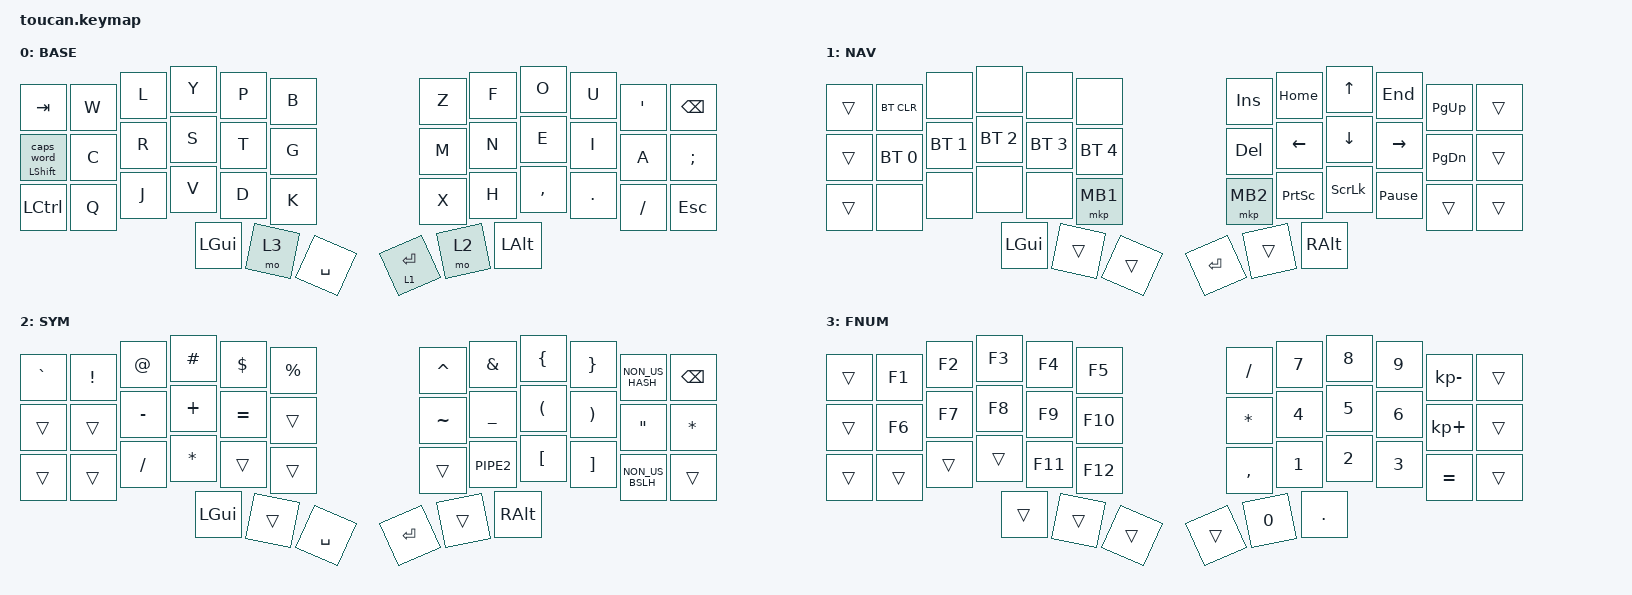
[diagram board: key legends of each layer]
#include <behaviors.dtsi>
#include <dt-bindings/zmk/keys.h>
#include <dt-bindings/zmk/bt.h>
#include <dt-bindings/zmk/outputs.h>
#include <dt-bindings/zmk/pointing.h>

#define BASE 0
#define NAV  1
#define SYM  2
#define FNUM 3

/ {
    macros {
        cp_macro: cp_macro {
            compatible = "zmk,behavior-macro";
            #binding-cells = <0>;
            bindings =
                <&macro_press>,
                <&kp LCTRL>,
                <&macro_tap>,
                <&kp INS>,
                <&macro_release>,
                <&kp LCTRL>;
        };

        paste_macro: paste_macro {
            compatible = "zmk,behavior-macro";
            #binding-cells = <0>;
            bindings =
                <&macro_press>,
                <&kp LSHIFT>,
                <&macro_tap>,
                <&kp INSERT>,
                <&macro_release>,
                <&kp LSHIFT>;
        };

        cut_macro: cut_macro {
            compatible = "zmk,behavior-macro";
            #binding-cells = <0>;
            bindings =
                <&macro_press>,
                <&kp LCTRL>,
                <&macro_tap>,
                <&kp X>,
                <&macro_release>,
                <&kp LCTRL>;
        };

        vi_wq: vi_wq {
            compatible = "zmk,behavior-macro";
            #binding-cells = <0>;
            bindings = <&kp COLON &kp W &kp Q>;
            label = "VI_WQ";
        };
    };

    combos {
        compatible = "zmk,combos";

        activate_kbd_config {
            bindings = <&mo 4>;
            key-positions = <37 40>;
        };

        Copy {
            bindings = <&cp_macro>;
            timeout-ms = <100>;
            key-positions = <26 27>;
        };

        Paste {
            bindings = <&paste_macro>;
            timeout-ms = <100>;
            key-positions = <27 28>;
        };

        Cut {
            bindings = <&cut_macro>;
            timeout-ms = <100>;
            key-positions = <26 28>;
        };

        LeftMouseClick {
            bindings = <&mkp MB1>;
            timeout-ms = <100>;
            key-positions = <28 29>;
        };

        RightMouseClick {
            bindings = <&mkp MB2>;
            timeout-ms = <100>;
            key-positions = <30 31>;
        };

        TopLeftMouseClick {
            bindings = <&mkp MB1>;
            timeout-ms = <100>;
            require-prior-idle-ms = <500>;
            key-positions = <2 3>;
        };

        TopRightMouseClick {
            bindings = <&mkp MB2>;
            timeout-ms = <100>;
            require-prior-idle-ms = <500>;
            key-positions = <3 4>;
        };

        TopScrollEnable {
            bindings = <&mo 1>;
            timeout-ms = <100>;
            require-prior-idle-ms = <500>;
            key-positions = <2 4>;
        };

        non_us_double_quote {
            bindings = <&kp AT>;
            timeout-ms = <500>;
            layers = <0>;
            key-positions = <24 10>;
        };

        keepass {
            bindings = <&kp LA(LC(A))>;
            key-positions = <1 4>;
        };

        combo_vi_wq {
            bindings = <&vi_wq>;
            key-positions = <1 2>;
        };
    };

    ls_cw: hold_leftshift_tap_capsword {
        compatible = "zmk,behavior-hold-tap";
        #binding-cells = <2>;
        flavor = "hold-preferred";
        tapping-term-ms = <200>;
        bindings = <&kp>, <&caps_word>;
    };

    behaviors {
    };

    keymap {
        compatible = "zmk,keymap";

        base {
            display-name = "BASE";
            bindings = <
&kp TAB              &kp W  &kp L  &kp Y         &kp P  &kp B        &kp Z        &kp F  &kp O         &kp U    &kp SINGLE_QUOTE  &kp BSPC
&ls_cw LEFT_SHIFT 0  &kp C  &kp R  &kp S         &kp T  &kp G        &kp M        &kp N  &kp E         &kp I    &kp A             &kp SEMICOLON
&kp LEFT_CONTROL     &kp Q  &kp J  &kp V         &kp D  &kp K        &kp X        &kp H  &kp COMMA     &kp DOT  &kp FSLH          &kp ESC
                                   &kp LEFT_GUI  &mo 3  &kp SPACE    &lt 1 ENTER  &mo 2  &kp LEFT_ALT
            >;
        };

        nav {
            display-name = "NAV";
            bindings = <
&trans  &bt BT_CLR    &none          &none         &none         &none             &kp INSERT  &kp HOME         &kp UP          &kp END          &kp PG_UP  &trans
&trans  &bt BT_SEL 0  &bt BT_SEL 1   &bt BT_SEL 2  &bt BT_SEL 3  &bt BT_SEL 4      &kp DELETE  &kp LEFT         &kp DOWN        &kp RIGHT_ARROW  &kp PG_DN  &trans
&trans  &none         &none          &none         &none         &mkp MB1          &mkp MB2    &kp PRINTSCREEN  &kp SCROLLLOCK  &kp PAUSE_BREAK  &trans     &trans
                                     &kp LGUI      &trans        &trans            &kp RET     &trans           &kp RALT
            >;
        };

        sym {
            display-name = "SYM";
            bindings = <
&kp GRAVE  &kp EXCLAMATION  &kp AT     &kp POUND     &kp DOLLAR  &kp PERCENT    &kp CARET  &kp AMPERSAND   &kp LBRC              &kp RBRC               &kp NON_US_HASH    &kp BSPC
&trans     &trans           &kp MINUS  &kp PLUS      &kp EQUAL   &trans         &kp TILDE  &kp UNDERSCORE  &kp LEFT_PARENTHESIS  &kp RIGHT_PARENTHESIS  &kp DOUBLE_QUOTES  &kp ASTERISK
&trans     &trans           &kp SLASH  &kp ASTERISK  &trans      &trans         &trans     &kp PIPE2       &kp LEFT_BRACKET      &kp RIGHT_BRACKET      &kp NON_US_BSLH    &trans
                                       &kp LGUI      &trans      &kp SPACE      &kp RET    &trans          &kp RALT
            >;
        };

        fnum {
            display-name = "FNUM";
            bindings = <
&trans  &kp F1  &kp F2  &kp F3  &kp F4   &kp F5     &kp SLASH     &kp N7  &kp N8      &kp N9  &kp KP_MINUS  &trans
&trans  &kp F6  &kp F7  &kp F8  &kp F9   &kp F10    &kp ASTERISK  &kp N4  &kp N5      &kp N6  &kp KP_PLUS   &trans
&trans  &trans  &trans  &trans  &kp F11  &kp F12    &kp COMMA     &kp N1  &kp N2      &kp N3  &kp EQUAL     &trans
                        &trans  &trans   &trans     &trans        &kp N0  &kp PERIOD
            >;
        };
    };
};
